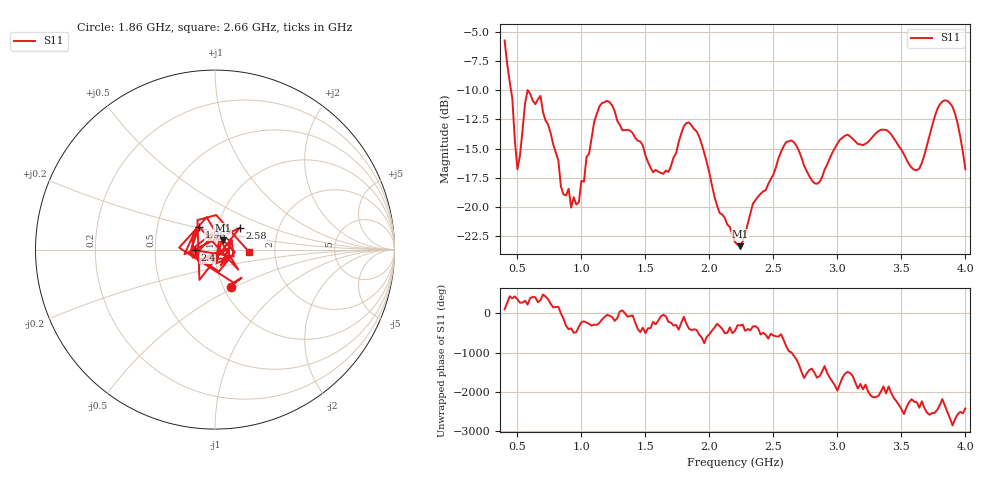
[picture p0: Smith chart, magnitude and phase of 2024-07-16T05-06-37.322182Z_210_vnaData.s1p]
!Created with skrf (http://scikit-rf.org).
# Hz S RI R 50.0
!freq ReS11 ImS11
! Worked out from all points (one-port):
!   181 points, 400 MHz to 4 GHz, reference 50 ohm
!   lowest |S11| = -23.3 dB at 2.24 GHz (marker M1), VSWR 1.15, Z = 54.2 + j5.71 ohm
!   |S11| at or under -10 dB: 450 MHz to 579.7 MHz (129.7 MHz wide, 25.2 % of centre); 581 MHz to end of sweep
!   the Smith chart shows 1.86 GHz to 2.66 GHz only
!   S11 on the Smith chart (normalised r, x): 1.86 GHz: 1.08, -0.47; 1.98 GHz: 0.81, +0.21; 2.4 GHz: 0.80, -0.01; 2.58 GHz: 1.27, +0.32; 2.66 GHz: 1.47, -0.04
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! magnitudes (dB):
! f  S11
! 400 MHz  -5.7
! 460 MHz  -10.7
! 500 MHz  -16.8
! 580 MHz  -10.0
! 680 MHz  -10.5
! 860 MHz  -18.9
! 980 MHz  -19.6
! 1.1 GHz  -12.7
! 1.16 GHz  -11.1
! 1.3 GHz  -13.0
! 1.56 GHz  -17.0
! 1.68 GHz  -17.0
! 1.76 GHz  -14.4
! 1.86 GHz  -13.0
! 1.98 GHz  -16.2
! 2.2 GHz  -23.0
! 2.24 GHz  -23.3
! 2.4 GHz  -18.9
! 2.58 GHz  -14.8
! 2.66 GHz  -14.4
! 2.84 GHz  -18.0
! 3.1 GHz  -14.0
! 3.38 GHz  -13.4
! 3.56 GHz  -16.3
! 3.64 GHz  -16.7
! 3.84 GHz  -10.9
! 3.92 GHz  -12.0
! 4 GHz  -16.8
